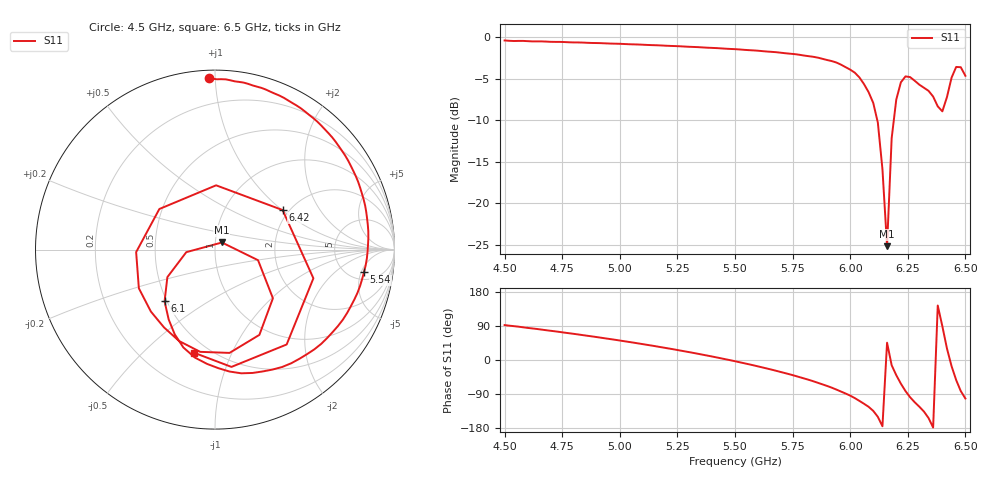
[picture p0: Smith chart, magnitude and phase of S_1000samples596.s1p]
! TOUCHSTONE file generated by CST MICROWAVE STUDIO
! Date and time: Fri Oct 28 17:31:33 2022
! Project name: L.cst
! Parameters = {Di=1.27; Epsilon_r=1.56; InnerDiameter=1.27; Length=2; Lf=10; Lg=60; OuterConductorThickness=0.2921; OuterDiameter=3.6; Wf=3; Wp=41.2; de=1.5; df=6.8; g=0.8; gx=3.80918; gy=3.52274; h=2.34; hf=1.524; px=11.0296; py=14.4025; w=9.7; wx=7.2204; wy=10.8798}
! Header version: 2018
! Port assignment regex: !\s*Touchstone port\s*([0-9]+)\s*=\s*(CST MWS port|CST DS port)\s*([0-9]+|Zmin|Zmax)\s*\(\"(.*)\"\)(\s*mode\s*([0-9]+))?.*
! Touchstone port assignment:
! Touchstone port 1 = CST MWS port 1 ("")
# GHz S DB R 50
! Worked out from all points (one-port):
!   101 points, 4.5 GHz to 6.5 GHz, reference 50 ohm
!   lowest |S11| = -25.1 dB at 6.16 GHz (marker M1), VSWR 1.12, Z = 53.8 + j4.28 ohm
!   |S11| at or under -10 dB: 6.118 GHz to 6.189 GHz (71.54 MHz wide, 1.16 % of centre)
!   S11 on the Smith chart (normalised r, x): 4.5 GHz: 0.04, +0.96; 5.54 GHz: 6.63, -5.64; 6.1 GHz: 0.49, -0.33; 6.42 GHz: 1.85, +1.01; 6.5 GHz: 0.42, -0.73
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4.5  -0.39 92.2
4.76  -0.58 72.2
5  -0.79 51.4
5.26  -1.09 25.3
5.5  -1.44 -3.2
5.54  -1.52 -8.6
5.76  -2.04 -41.6
5.9  -2.74 -68.5
6  -3.90 -94.0
6.04  -4.84 -107.9
6.1  -7.90 -134.2
6.12  -10.27 -150.0
6.14  -15.88 -174.9
6.16  -25.14 45.7
6.18  -12.15 -13.8
6.2  -7.50 -40.1
6.22  -5.42 -62.5
6.24  -4.71 -82.0
6.26  -4.80 -98.2
6.32  -6.08 -136.0
6.36  -7.14 -178.2
6.38  -8.32 143.9
6.4  -8.92 89.0
6.42  -7.20 30.3
6.44  -4.87 -16.3
6.46  -3.58 -52.9
6.48  -3.61 -82.0
6.5  -4.64 -101.7
